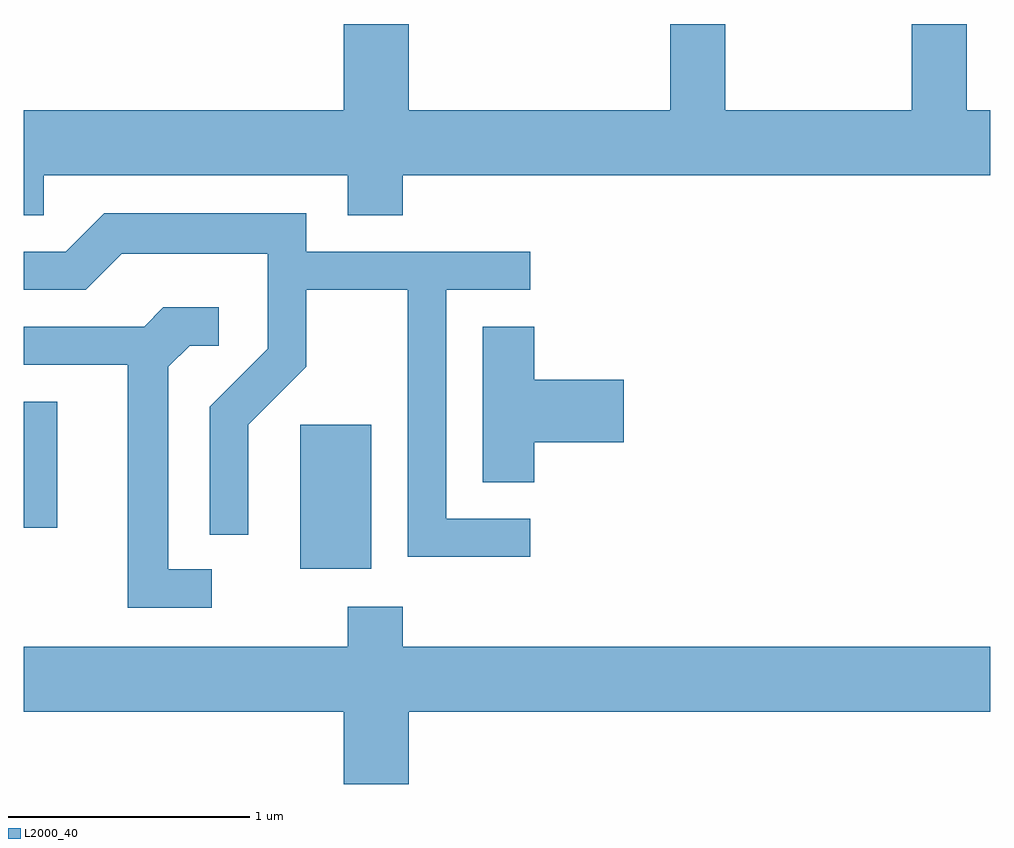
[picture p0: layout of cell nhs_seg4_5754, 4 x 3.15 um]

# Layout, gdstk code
import gdstk
lib = gdstk.Library(unit=1e-6, precision=1e-09)
def R(c, l, rs):  # rectangles x0, y0, x1, y1
    for r in rs: c.add(gdstk.rectangle(r[:2], r[2:], *l))
def P(c, l, *ps):  # polygons
    for p in ps: c.add(gdstk.Polygon(p, *l))
L2000_40 = (2000, 40)

nhs_seg4_5754 = lib.new_cell('nhs_seg4_5754')
R(nhs_seg4_5754, L2000_40, [(354.756,1339.726,355.049,1340.324), (353.611,1339.896,353.749,1340.419)])
P(nhs_seg4_5754, L2000_40, [(357.286,1341.982),(357.286,1341.624),(356.514,1341.624),(356.514,1341.982),(356.286,1341.982),(356.286,1341.624),(355.204,1341.624),(355.204,1341.982),(354.936,1341.982),(354.936,1341.624),(353.611,1341.624),(353.611,1341.191),(353.694,1341.191),(353.694,1341.356),(354.951,1341.356),(354.951,1341.191),(355.179,1341.191),(355.179,1341.356),(357.611,1341.356),(357.611,1341.624),(357.514,1341.624),(357.514,1341.982)],
  [(355.708,1339.934),(355.359,1339.934),(355.359,1340.881),(355.708,1340.881),(355.708,1341.039),(354.779,1341.039),(354.779,1341.199),(353.944,1341.199),(353.784,1341.039),(353.611,1341.039),(353.611,1340.881),(353.867,1340.881),(354.017,1341.031),(354.621,1341.031),(354.621,1340.637),(354.381,1340.397),(354.381,1339.868),(354.539,1339.868),(354.539,1340.324),(354.779,1340.564),(354.779,1340.881),(355.201,1340.881),(355.201,1339.776),(355.708,1339.776)],
  [(354.388,1339.724),(354.209,1339.724),(354.209,1340.564),(354.297,1340.651),(354.418,1340.651),(354.418,1340.809),(354.189,1340.809),(354.109,1340.729),(353.611,1340.729),(353.611,1340.571),(354.041,1340.571),(354.041,1339.566),(354.388,1339.566)],
  [(355.724,1340.251),(356.094,1340.251),(356.094,1340.509),(355.724,1340.509),(355.724,1340.729),(355.511,1340.729),(355.511,1340.086),(355.724,1340.086)],
  [(355.204,1339.136),(357.611,1339.136),(357.611,1339.404),(355.179,1339.404),(355.179,1339.569),(354.951,1339.569),(354.951,1339.404),(353.611,1339.404),(353.611,1339.136),(354.936,1339.136),(354.936,1338.836),(355.204,1338.836)])

lib.write_gds('nhs_seg4_5754.gds')
